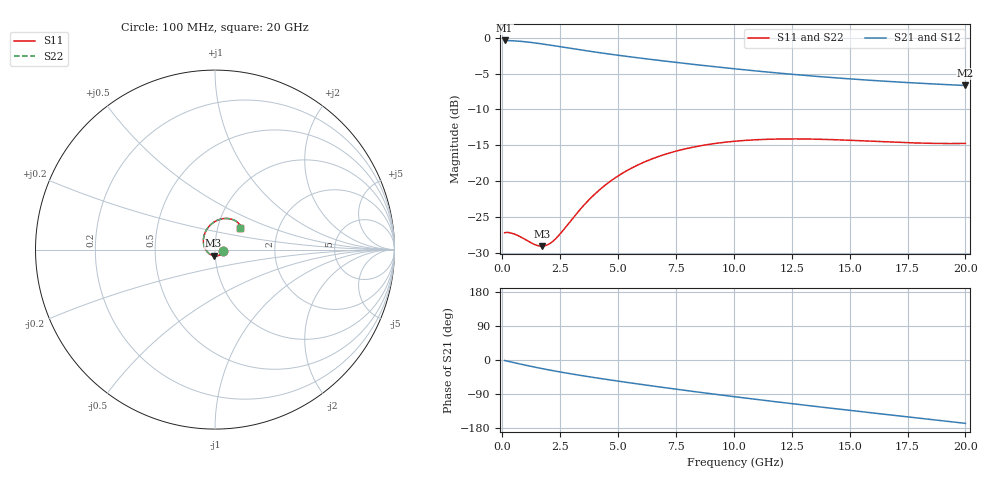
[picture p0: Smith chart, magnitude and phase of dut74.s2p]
! Created with skrf 1.9.0 (http://scikit-rf.org).
# GHz S RI R 50.0
!freq ReS11 ImS11 ReS21 ImS21 ReS12 ImS12 ReS22 ImS22
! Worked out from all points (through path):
!   200 points, 100 MHz to 20 GHz, reference 50 ohm
!   highest |S21| = -0.39 dB at 100 MHz (marker M1); lowest = -6.7 dB at 20 GHz (marker M2)
!   group delay of S21, straight-line fit = 22.1 ps
!   lowest |S11| = -29.0 dB at 1.7 GHz (marker M3), VSWR 1.07, Z = 49.1 - j3.38 ohm
!   |S11| at or under -10 dB: start of sweep to end of sweep
!   |S22| runs from -29.0 to -14.1 dB; largest |S21 - S12| = 2e-15
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0.1  0.0435 -0.00503  0.9557 -0.0222  0.9557 -0.0222  0.0435 -0.00503
0.4  0.0406 -0.0156  0.9477 -0.0922  0.9477 -0.0922  0.0406 -0.0156
0.8  0.0301 -0.0278  0.9251 -0.1802  0.9251 -0.1802  0.0301 -0.0278
1.4  0.00564 -0.0358  0.8702 -0.2966  0.8702 -0.2966  0.00564 -0.0358
1.7  -0.00796 -0.0344  0.8364 -0.3465  0.8364 -0.3465  -0.00796 -0.0344
2  -0.0211 -0.0296  0.8 -0.3909  0.8 -0.3909  -0.0211 -0.0296
2.3  -0.0331 -0.0219  0.7622 -0.43  0.7622 -0.43  -0.0331 -0.0219
2.9  -0.0517 -9.65e-05  0.6848 -0.4947  0.6848 -0.4947  -0.0517 -9.65e-05
3.5  -0.0621 0.0266  0.6079 -0.5446  0.6079 -0.5446  -0.0621 0.0266
4.2  -0.0641 0.0591  0.5206 -0.5883  0.5206 -0.5883  -0.0641 0.0591
5  -0.0556 0.0937  0.4245 -0.6233  0.4245 -0.6233  -0.0556 0.0937
5.9  -0.0364 0.1258  0.3212 -0.6469  0.3212 -0.6469  -0.0364 0.1258
6.8  -0.0114 0.1494  0.2234 -0.6565  0.2234 -0.6565  -0.0114 0.1494
7.5  0.00983 0.1618  0.1516 -0.6553  0.1516 -0.6553  0.00983 0.1618
8.3  0.034 0.1702  0.0744 -0.646  0.0744 -0.646  0.034 0.1702
10.1  0.0821 0.1718  -0.0783 -0.6002  -0.0783 -0.6002  0.0821 0.1718
11.7  0.113 0.1609  -0.1893 -0.5388  -0.1893 -0.5388  0.113 0.1609
13.4  0.1328 0.145  -0.2831 -0.4603  -0.2831 -0.4603  0.1328 0.145
15  0.1415 0.1313  -0.351 -0.3788  -0.351 -0.3788  0.1415 0.1313
16.7  0.1434 0.1213  -0.4036 -0.2871  -0.4036 -0.2871  0.1434 0.1213
18.3  0.1417 0.1175  -0.4359 -0.1983  -0.4359 -0.1983  0.1417 0.1175
20  0.1393 0.1194  -0.4528 -0.1032  -0.4528 -0.1032  0.1393 0.1194
